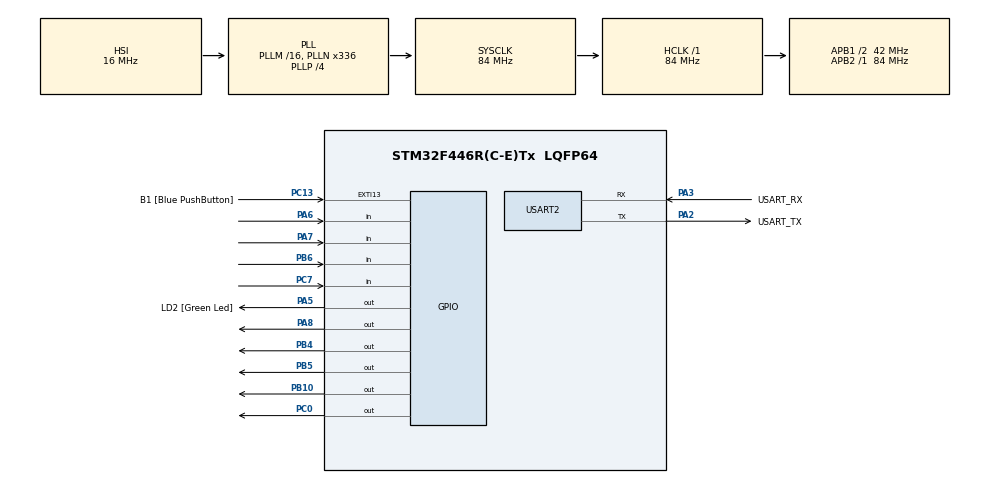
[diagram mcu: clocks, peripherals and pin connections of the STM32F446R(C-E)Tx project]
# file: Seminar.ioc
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Mcu.Family=STM32F4
Mcu.Name=STM32F446R(C-E)Tx
Mcu.Package=LQFP64
NVIC.PriorityGroup=NVIC_PRIORITYGROUP_0
PA13.GPIO_Label=TMS
PA13.Mode=Serial_Wire
PA13.Signal=SYS_JTMS-SWDIO
PA14.GPIO_Label=TCK
PA14.Mode=Serial_Wire
PA14.Signal=SYS_JTCK-SWCLK
PA2.GPIO_Label=USART_TX
PA2.Mode=Asynchronous
PA2.Signal=USART2_TX
PA3.GPIO_Label=USART_RX
PA3.Mode=Asynchronous
PA3.Signal=USART2_RX
PA5.GPIO_Label=LD2 [Green Led]
PA5.Signal=GPIO_Output
PA6.GPIO_PuPd=GPIO_PULLUP
PA6.Signal=GPIO_Input
PA7.GPIO_PuPd=GPIO_PULLUP
PA7.Signal=GPIO_Input
PA8.Signal=GPIO_Output
PB10.Signal=GPIO_Output
PB3.GPIO_Label=SWO
PB3.Signal=SYS_JTDO-SWO
PB4.Signal=GPIO_Output
PB5.Signal=GPIO_Output
PB6.GPIO_PuPd=GPIO_PULLUP
PB6.Signal=GPIO_Input
PC0.Signal=GPIO_Output
PC13.GPIO_Label=B1 [Blue PushButton]
PC13.GPIO_ModeDefaultEXTI=GPIO_MODE_IT_FALLING
PC13.Signal=GPXTI13
PC14-OSC32_IN.Mode=LSE-External-Oscillator
PC14-OSC32_IN.Signal=RCC_OSC32_IN
PC15-OSC32_OUT.Mode=LSE-External-Oscillator
PC15-OSC32_OUT.Signal=RCC_OSC32_OUT
PC7.GPIO_PuPd=GPIO_PULLUP
PC7.Signal=GPIO_Input
PH0-OSC_IN.Mode=HSE-External-Oscillator
PH0-OSC_IN.Signal=RCC_OSC_IN
PH1-OSC_OUT.Mode=HSE-External-Oscillator
PH1-OSC_OUT.Signal=RCC_OSC_OUT
ProjectManager.HeapSize=0x200
ProjectManager.StackSize=0x400
ProjectManager.TargetToolchain=STM32CubeIDE
RCC.48MHZClocksFreq_Value=84000000
RCC.AHBFreq_Value=84000000
RCC.APB1CLKDivider=RCC_HCLK_DIV2
RCC.APB1Freq_Value=42000000
RCC.APB1TimFreq_Value=84000000
RCC.APB2Freq_Value=84000000
RCC.APB2TimFreq_Value=84000000
RCC.CortexFreq_Value=84000000
RCC.FLatency-AdvancedSettings=FLASH_LATENCY_2
RCC.HCLKFreq_Value=84000000
RCC.HSE_VALUE=8000000
RCC.HSI_VALUE=16000000
RCC.PLLN=336
RCC.PLLP=RCC_PLLP_DIV4
RCC.SYSCLKFreq_VALUE=84000000
RCC.SYSCLKSource=RCC_SYSCLKSOURCE_PLLCLK
RCC.USBFreq_Value=168000000
RCC.VCOOutputFreq_Value=336000000
USART2.VirtualMode=VM_ASYNC
board=NUCLEO-F446RE

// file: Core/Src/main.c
/* USER CODE BEGIN Header */
/**
  ******************************************************************************
  * @file           : main.c
  * @brief          : Main program body
  ******************************************************************************
  * @attention
  *
  * Copyright (c) 2024 STMicroelectronics.
  * All rights reserved.
  *
  * This software is licensed under terms that can be found in the LICENSE file
  * in the root directory of this software component.
  * If no LICENSE file comes with this software, it is provided AS-IS.
  *
  ******************************************************************************
  */
/* USER CODE END Header */
#include "main.h"

/* USER CODE BEGIN Includes */

// Definiranje portova redova (ROWS)
#define ROWS_GPIO_PORT_A GPIOA  // GPIO port A za redove
#define ROWS_GPIO_PORT_B GPIOB  // GPIO port B za redove
#define ROWS_GPIO_PORT_C GPIOC  // GPIO port C za redove

// Definiranje portova stupaca (COLS)
#define COLS_GPIO_PORT_A GPIOA  // GPIO port A za stupce
#define COLS_GPIO_PORT_B GPIOB  // GPIO port B za stupce

// Definiranje pinova redova (ROWS)
#define ROW1_PIN GPIO_PIN_6  // Red 1, povezan na Port A, Pin 6
#define ROW2_PIN GPIO_PIN_7  // Red 2, povezan na Port A, Pin 7
#define ROW3_PIN GPIO_PIN_6  // Red 3, povezan na Port B, Pin 6
#define ROW4_PIN GPIO_PIN_7  // Red 4, povezan na Port C, Pin 7

// Definiranje pinova stupaca (COLS)
#define COL1_PIN GPIO_PIN_8   // Stupac 1, povezan na Port A, Pin 8
#define COL2_PIN GPIO_PIN_5   // Stupac 2, povezan na Port B, Pin 5
#define COL3_PIN GPIO_PIN_4   // Stupac 3, povezan na Port B, Pin 4
#define COL4_PIN GPIO_PIN_10  // Stupac 4, povezan na Port B, Pin 10

// Definiranje pina za LED
#define LED_PIN GPIO_PIN_5 // Pin A5

// Definiranje pina za relejni modul
#define GPIO_PIN_RELAY GPIO_PIN_0 // Pin 0
#define GPIO_PORT_RELAY GPIOC // Port C

// Definiranje duljine lozinke
#define PASSWORD_LENGTH 4

/* USER CODE END Includes */

UART_HandleTypeDef huart2;

void SystemClock_Config(void);
static void MX_GPIO_Init(void);
static void MX_USART2_UART_Init(void);

/* USER CODE BEGIN 0 */

char Keypad_Scan(void)
{
  char key = '\0';

  // Podesi svaki stupac na nisku razinu, jedan po jedan, i provjeri dali su redovi na visokoj razini (pritisnutu tipku).

 for (int col = 0; col < 4; col++)
 {
   // Postavi sve stupce na visoku razinu (osim trenutnog stupca)
   HAL_GPIO_WritePin(COLS_GPIO_PORT_A, COL1_PIN, GPIO_PIN_SET);
   HAL_GPIO_WritePin(COLS_GPIO_PORT_B, COL2_PIN | COL3_PIN | COL4_PIN, GPIO_PIN_SET);

   // Postavi trenutni stupac na nisku razinu
    switch (col)
    {
    case 0:
      HAL_GPIO_WritePin(COLS_GPIO_PORT_A, COL1_PIN, GPIO_PIN_RESET);
      break;
    case 1:
      HAL_GPIO_WritePin(COLS_GPIO_PORT_B, COL2_PIN, GPIO_PIN_RESET);
      break;
    case 2:
      HAL_GPIO_WritePin(COLS_GPIO_PORT_B, COL3_PIN, GPIO_PIN_RESET);
      break;
    case 3:
      HAL_GPIO_WritePin(COLS_GPIO_PORT_B, COL4_PIN, GPIO_PIN_RESET);
      break;
    }

    // Provjeri redove za visoku razinu (pritisnuta tipka)
    if (HAL_GPIO_ReadPin(ROWS_GPIO_PORT_A, ROW1_PIN) == GPIO_PIN_RESET)
    {
      key = (col == 0) ? '1' : (col == 1) ? '2' : (col == 2) ? '3' : 'A';
      break;
    }
    else if (HAL_GPIO_ReadPin(ROWS_GPIO_PORT_A, ROW2_PIN) == GPIO_PIN_RESET)
    {
      key = (col == 0) ? '4' : (col == 1) ? '5' : (col == 2) ? '6' : 'B';
      break;
    }
    else if (HAL_GPIO_ReadPin(ROWS_GPIO_PORT_B, ROW3_PIN) == GPIO_PIN_RESET)
    {
      key = (col == 0) ? '7' : (col == 1) ? '8' : (col == 2) ? '9' : 'C';
      break;
    }
    else if (HAL_GPIO_ReadPin(ROWS_GPIO_PORT_C, ROW4_PIN) == GPIO_PIN_RESET)
    {
      key = (col == 0) ? '*' : (col == 1) ? '0' : (col == 2) ? '#' : 'D';
      break;
    }
  }

  return key;
}
  /* USER CODE END 0 */

  /**
  * @brief  The application entry point.
  * @retval int
  */
int main(void)
{

  /* MCU Configuration--------------------------------------------------------*/

  /* Reset of all peripherals, Initializes the Flash interface and the Systick. */
  HAL_Init();

  /* USER CODE BEGIN Init */

  static uint8_t index = 0;
  char stored_password[PASSWORD_LENGTH + 1] = {0}; // +1 za null znak
  char entered_password[PASSWORD_LENGTH + 1] = {0}; // +1 za null znak
  uint8_t password_set = 0; // 0 ako lozinka nije postavljena, 1 ako je postavljena

  /* USER CODE END Init */

  /* Configure the system clock */
  SystemClock_Config();

  /* Initialize all configured peripherals */
  MX_GPIO_Init();
  MX_USART2_UART_Init();

  /* Infinite loop */
  /* USER CODE BEGIN WHILE */
  while (1)
  {
   char key = Keypad_Scan();
   if (key != '\0' && key == '#')
   {
     if (index == PASSWORD_LENGTH) // Provjera dali je u indeksu koliko je zaporuka duga
     {
       entered_password[index] = '\0'; // Završavanje null znakom
       if (password_set == 0)
       {
         // Postavljanje lozinke
         strcpy(stored_password, entered_password);
         password_set = 1;
         HAL_GPIO_WritePin(GPIOA, LED_PIN, GPIO_PIN_SET); // Upali LED
         HAL_Delay(1000); // Pričekaj 1 sekunde
         HAL_GPIO_WritePin(GPIOA, LED_PIN, GPIO_PIN_RESET); // Ugasi LED
       }
       else
       {
         // Provjera lozinke
         if (strcmp(stored_password, entered_password) == 0)
         {
           HAL_GPIO_WritePin(GPIOA, LED_PIN, GPIO_PIN_SET); // Upali LED
           HAL_GPIO_WritePin(GPIO_PORT_RELAY, GPIO_PIN_RELAY, GPIO_PIN_SET); // Upali relej
           HAL_Delay(3000); // Pričekaj 3 sekunde
           HAL_GPIO_WritePin(GPIOA, LED_PIN, GPIO_PIN_RESET); // Ugasi LED
           HAL_GPIO_WritePin(GPIO_PORT_RELAY, GPIO_PIN_RELAY, GPIO_PIN_RESET); // Ugasi relej
         }
       }
       // Resetiranje unesene lozinke i indeksa
       memset(entered_password, 0, sizeof(entered_password));
       index = 0;
     }
   }
   else if (key == 'C') // C kao master switch
   {
     // Brisanje pohranjene lozinke
     memset(stored_password, 0, sizeof(stored_password));
     password_set = 0;
     // Resetiranje unesene lozinke i indeksa
     memset(entered_password, 0, sizeof(entered_password));
     index = 0;
     // Gašenje LED-ova i releja kao indikacija resetiranja lozinke
     HAL_GPIO_WritePin(GPIOA, LED_PIN, GPIO_PIN_RESET);
     HAL_GPIO_WritePin(GPIO_PORT_RELAY, GPIO_PIN_RELAY, GPIO_PIN_RESET);
   }
   else if (index < PASSWORD_LENGTH && key >= '0' && key <= '9')
   {
     entered_password[index++] = key;
   }
    /* USER CODE END WHILE */

 }
}

void SystemClock_Config(void)
{
  RCC_OscInitTypeDef RCC_OscInitStruct = {0};
  RCC_ClkInitTypeDef RCC_ClkInitStruct = {0};

  /** Configure the main internal regulator output voltage
  */
  __HAL_RCC_PWR_CLK_ENABLE();
  __HAL_PWR_VOLTAGESCALING_CONFIG(PWR_REGULATOR_VOLTAGE_SCALE3);

  /** Initializes the RCC Oscillators according to the specified parameters
  * in the RCC_OscInitTypeDef structure.
  */
  RCC_OscInitStruct.OscillatorType = RCC_OSCILLATORTYPE_HSI;
  RCC_OscInitStruct.HSIState = RCC_HSI_ON;
  RCC_OscInitStruct.HSICalibrationValue = RCC_HSICALIBRATION_DEFAULT;
  RCC_OscInitStruct.PLL.PLLState = RCC_PLL_ON;
  RCC_OscInitStruct.PLL.PLLSource = RCC_PLLSOURCE_HSI;
  RCC_OscInitStruct.PLL.PLLM = 16;
  RCC_OscInitStruct.PLL.PLLN = 336;
  RCC_OscInitStruct.PLL.PLLP = RCC_PLLP_DIV4;
  RCC_OscInitStruct.PLL.PLLQ = 2;
  RCC_OscInitStruct.PLL.PLLR = 2;

  if (HAL_RCC_OscConfig(&RCC_OscInitStruct) != HAL_OK)
  {
    Error_Handler();
  }

  /** Initializes the CPU, AHB and APB buses clocks
  */
  RCC_ClkInitStruct.ClockType = RCC_CLOCKTYPE_HCLK|RCC_CLOCKTYPE_SYSCLK |RCC_CLOCKTYPE_PCLK1|RCC_CLOCKTYPE_PCLK2;
  RCC_ClkInitStruct.SYSCLKSource = RCC_SYSCLKSOURCE_PLLCLK;
  RCC_ClkInitStruct.AHBCLKDivider = RCC_SYSCLK_DIV1;
  RCC_ClkInitStruct.APB1CLKDivider = RCC_HCLK_DIV2;
  RCC_ClkInitStruct.APB2CLKDivider = RCC_HCLK_DIV1;

  if (HAL_RCC_ClockConfig(&RCC_ClkInitStruct, FLASH_LATENCY_2) != HAL_OK)
  {
    Error_Handler();
  }
}

static void MX_USART2_UART_Init(void)
{

  huart2.Instance = USART2;
  huart2.Init.BaudRate = 115200;
  huart2.Init.WordLength = UART_WORDLENGTH_8B;
  huart2.Init.StopBits = UART_STOPBITS_1;
  huart2.Init.Parity = UART_PARITY_NONE;
  huart2.Init.Mode = UART_MODE_TX_RX;
  huart2.Init.HwFlowCtl = UART_HWCONTROL_NONE;
  huart2.Init.OverSampling = UART_OVERSAMPLING_16;
  if (HAL_UART_Init(&huart2) != HAL_OK)
  {
    Error_Handler();
  }

}

static void MX_GPIO_Init(void)
{
  GPIO_InitTypeDef GPIO_InitStruct = {0};

  /* GPIO Ports Clock Enable */
  __HAL_RCC_GPIOC_CLK_ENABLE();
  __HAL_RCC_GPIOH_CLK_ENABLE();
  __HAL_RCC_GPIOA_CLK_ENABLE();
  __HAL_RCC_GPIOB_CLK_ENABLE();

  /*Configure GPIO pin Output Level */
  HAL_GPIO_WritePin(GPIOC, GPIO_PIN_0, GPIO_PIN_RESET);

  /*Configure GPIO pin Output Level */
  HAL_GPIO_WritePin(GPIOA, LD2_Pin|GPIO_PIN_8, GPIO_PIN_RESET);

  /*Configure GPIO pin Output Level */
  HAL_GPIO_WritePin(GPIOB, GPIO_PIN_10|GPIO_PIN_4|GPIO_PIN_5, GPIO_PIN_RESET);

  /*Configure GPIO pin : B1_Pin */
  GPIO_InitStruct.Pin = B1_Pin;
  GPIO_InitStruct.Mode = GPIO_MODE_IT_FALLING;
  GPIO_InitStruct.Pull = GPIO_NOPULL;
  HAL_GPIO_Init(B1_GPIO_Port, &GPIO_InitStruct);

  /*Configure GPIO pin : PC0 */
  GPIO_InitStruct.Pin = GPIO_PIN_0;
  GPIO_InitStruct.Mode = GPIO_MODE_OUTPUT_PP;
  GPIO_InitStruct.Pull = GPIO_NOPULL;
  GPIO_InitStruct.Speed = GPIO_SPEED_FREQ_LOW;
  HAL_GPIO_Init(GPIOC, &GPIO_InitStruct);

  /*Configure GPIO pins : LD2_Pin PA8 */
  GPIO_InitStruct.Pin = LD2_Pin|GPIO_PIN_8;
  GPIO_InitStruct.Mode = GPIO_MODE_OUTPUT_PP;
  GPIO_InitStruct.Pull = GPIO_NOPULL;
  GPIO_InitStruct.Speed = GPIO_SPEED_FREQ_LOW;
  HAL_GPIO_Init(GPIOA, &GPIO_InitStruct);

  /*Configure GPIO pins : PA6 PA7 */
  GPIO_InitStruct.Pin = GPIO_PIN_6|GPIO_PIN_7;
  GPIO_InitStruct.Mode = GPIO_MODE_INPUT;
  GPIO_InitStruct.Pull = GPIO_PULLUP;
  HAL_GPIO_Init(GPIOA, &GPIO_InitStruct);

  /*Configure GPIO pins : PB10 PB4 PB5 */
  GPIO_InitStruct.Pin = GPIO_PIN_10|GPIO_PIN_4|GPIO_PIN_5;
  GPIO_InitStruct.Mode = GPIO_MODE_OUTPUT_PP;
  GPIO_InitStruct.Pull = GPIO_NOPULL;
  GPIO_InitStruct.Speed = GPIO_SPEED_FREQ_LOW;
  HAL_GPIO_Init(GPIOB, &GPIO_InitStruct);

  /*Configure GPIO pin : PC7 */
  GPIO_InitStruct.Pin = GPIO_PIN_7;
  GPIO_InitStruct.Mode = GPIO_MODE_INPUT;
  GPIO_InitStruct.Pull = GPIO_PULLUP;
  HAL_GPIO_Init(GPIOC, &GPIO_InitStruct);

  /*Configure GPIO pin : PB6 */
  GPIO_InitStruct.Pin = GPIO_PIN_6;
  GPIO_InitStruct.Mode = GPIO_MODE_INPUT;
  GPIO_InitStruct.Pull = GPIO_PULLUP;
  HAL_GPIO_Init(GPIOB, &GPIO_InitStruct);

}

void Error_Handler(void)
{
  __disable_irq();
  while (1)
  {
  }
}
